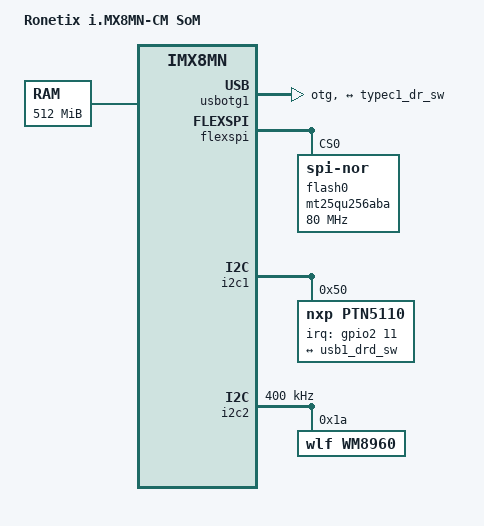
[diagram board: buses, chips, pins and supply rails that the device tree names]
// SPDX-License-Identifier: (GPL-2.0+ OR MIT)
/*
 * Copyright 2021 Ronetix
 */

/dts-v1/;

#include <dt-bindings/usb/pd.h>
#include "imx8mn.dtsi"
#include "imx8mn-ronetix.dtsi"

/ {
	model = "Ronetix i.MX8MN-CM SoM";
	compatible = "ronetix,imx8mn-cm", "fsl,imx8mn";

	/* 512 MiB @ 0x40000000 */
	memory@40000000 {
		device_type = "memory";
		reg = <0x00000000 0x40000000 0 0x20000000>;
	};

	reserved-memory {
		#address-cells = <2>;
		#size-cells = <2>;
		ranges;

		rpmsg_reserved: rpmsg@0x38000000 {
			no-map;
			reg = <0 0x38000000 0 0x400000>;
		};
	};

	resmem: reserved-memory {
		#address-cells = <2>;
		#size-cells = <2>;
		ranges;

		/* global autoconfigured region for contiguous allocations */
		linux,cma {
			compatible = "shared-dma-pool";
			reusable;
			/*
			 * 0x04000000 -  64 MB
			 * 0x10000000 - 256 MB
			 * 0x18000000 - 384 MB, when CSI is used
			 */
			size = <0 0x04000000>;
			alloc-ranges = <0 0x40000000 0 0x40000000>;
			linux,cma-default;
		};
	};
	
	sound-wm8960 {
		compatible = "fsl,imx7d-evk-wm8960", "fsl,imx-audio-wm8960";
		model = "wm8960-audio";
		cpu-dai = <&sai3>;
		codec-master;
		audio-codec = <&wm8960>;
		audio-routing =
			"Headphone Jack", "HP_L",
			"Headphone Jack", "HP_R",
			"Ext Spk", "SPK_LP",
			"Ext Spk", "SPK_LN",
			"Ext Spk", "SPK_RP",
			"Ext Spk", "SPK_RN",
			"LINPUT1", "Main MIC",
			"Main MIC", "MICB";
		/* JD2: hp detect high for headphone*/
		hp-det = <2 0>;
	};
};

&usbotg1 {
	dr_mode = "otg";
	hnp-disable;
	srp-disable;
	adp-disable;
	usb-role-switch;
	picophy,pre-emp-curr-control = <3>;
	picophy,dc-vol-level-adjust = <7>;
	status = "okay";

	port {
		usb1_drd_sw: endpoint {
			remote-endpoint = <&typec1_dr_sw>;
		};
	};
};

&flexspi {
	flash0: mt25qu256aba@0 {
		reg = <0>;
		#address-cells = <1>;
		#size-cells = <1>;
		compatible = "jedec,spi-nor";
		spi-max-frequency = <80000000>;
		spi-tx-bus-width = <4>;
		spi-rx-bus-width = <4>;
	};
};

&i2c1 {
	ptn5110: tcpc@50 {
		compatible = "nxp,ptn5110";
		pinctrl-names = "default";
		pinctrl-0 = <&pinctrl_typec1>;
		reg = <0x50>;
		interrupt-parent = <&gpio2>;
		interrupts = <11 8>;
		status = "okay";

		port {
			typec1_dr_sw: endpoint {
				remote-endpoint = <&usb1_drd_sw>;
			};
		};

		typec1_con: connector {
			compatible = "usb-c-connector";
			label = "USB-C";
			power-role = "dual";
			data-role = "dual";
			try-power-role = "sink";
			source-pdos = <PDO_FIXED(5000, 3000, PDO_FIXED_USB_COMM)>;
			sink-pdos = <PDO_FIXED(5000, 3000, PDO_FIXED_USB_COMM)
				     PDO_VAR(5000, 20000, 3000)>;
			op-sink-microwatt = <15000000>;
			self-powered;
		};
	};
};

&i2c2 {
	clock-frequency = <400000>;
	pinctrl-names = "default";
	pinctrl-0 = <&pinctrl_i2c2>;
	status = "okay";
	
	wm8960: codec@1a {
		compatible = "wlf,wm8960";
		reg = <0x1a>;
		clocks = <&clk IMX8MN_CLK_SAI3_ROOT>;
		clock-names = "mclk";
		wlf,shared-lrclk;
		status = "okay";
	};
};

&iomuxc {
	pinctrl-names = "default";

	pinctrl_typec1: typec1grp {
		fsl,pins = <
			MX8MN_IOMUXC_SD1_STROBE_GPIO2_IO11	0x159
		>;
	};
};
